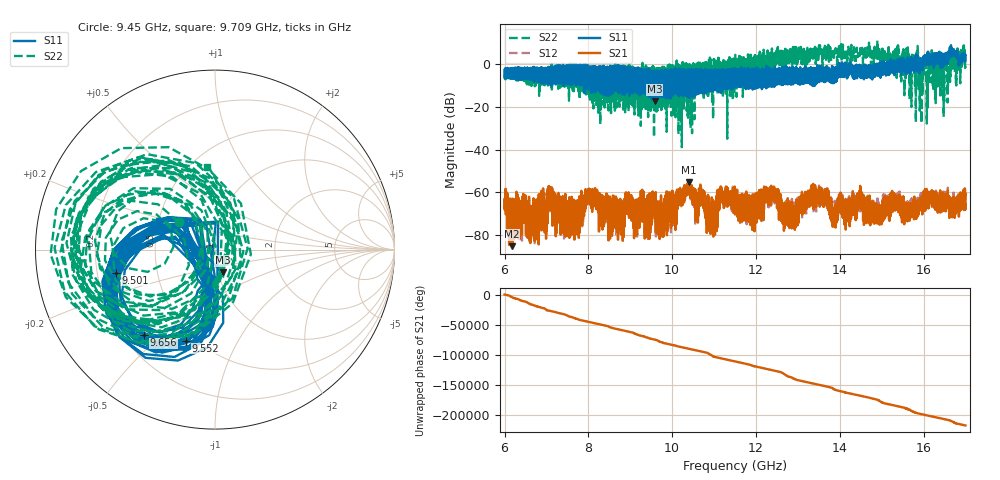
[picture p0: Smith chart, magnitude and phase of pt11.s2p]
#  HZ  S  RI  R  50.00
! Rohde & Schwarz Vector Network Analyzer
! Rohde-Schwarz,ZNA67-2Port,1332450062101215,3.01
! Created: UTC 10/26/2026, 4:32:56 PM
! freq[Hz]  re:S11  im:S11  re:S21  im:S21  re:S12  im:S12  re:S22  im:S22
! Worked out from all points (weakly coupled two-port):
!   11001 points, 6 GHz to 17 GHz, reference 50 ohm
!   highest |S21| = -55.13 dB at 10.4 GHz (marker M1); lowest = -85.2 dB at 6.166 GHz (marker M2)
!   lowest |S11| = -17.5 dB at 9.579 GHz (marker M3), VSWR 1.31, Z = 52.6 - j13.6 ohm
!   |S11| at or under -10 dB: 9.518773 GHz to 9.522251 GHz (3.479 MHz wide, 0.0365 % of centre); 9.530838 GHz to 9.534088 GHz (3.249 MHz wide, 0.0341 % of centre); 9.553665 GHz to 9.557255 GHz (3.59 MHz wide, 0.0376 % of centre) (the widest 3 of 362)
!   |S22| runs from -38.9 to 10.9 dB; largest |S21 - S12| = 0.0011
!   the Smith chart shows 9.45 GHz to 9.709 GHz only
!   S11 on the Smith chart (normalised r, x): 9.45 GHz: 0.85, -0.41; 9.501 GHz: 0.28, -0.11; 9.552 GHz: 0.45, -0.63; 9.656 GHz: 0.28, -0.44; 9.709 GHz: 0.50, +0.18
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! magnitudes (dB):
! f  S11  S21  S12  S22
! 6 GHz  -6.4  -63.5  -63.6  -4.8
! 6.166 GHz  -3.0  -85.2  -81.9  -4.8
! 7.085 GHz  -5.9  -68.5  -68.9  -3.0
! 7.486 GHz  -0.8  -69.5  -70.1  -4.1
! 7.834 GHz  -1.3  -62.1  -61.7  -3.6
! 9.45 GHz  -12.7  -71.5  -70.8  -11.9
! 9.501 GHz  -4.9  -71.3  -70.0  -2.0
! 9.552 GHz  -5.5  -64.3  -64.1  -3.9
! 9.579 GHz  -17.5  -67.5  -67.8  -11.9
! 9.656 GHz  -4.1  -70.6  -71.4  -3.6
! 9.667 GHz  -3.6  -72.4  -73.8  -2.5
! 9.709 GHz  -9.1  -73.1  -73.7  -6.7
! 10.4 GHz  -3.8  -55.1  -55.0  -0.6
! 10.94 GHz  -11.4  -70.4  -67.8  -9.8
! 11.5 GHz  -6.4  -67.0  -67.8  -1.6
! 12.4 GHz  -8.6  -58.5  -58.8  -3.7
! 12.9 GHz  -3.5  -70.6  -66.9  7.7
! 13.33 GHz  -6.2  -61.6  -61.8  2.9
! 13.86 GHz  -3.9  -68.3  -67.4  3.1
! 15.17 GHz  0.5  -66.7  -62.3  7.8
! 15.93 GHz  -0.3  -67.4  -63.7  -2.4
! 17 GHz  4.0  -61.1  -59.1  3.1
